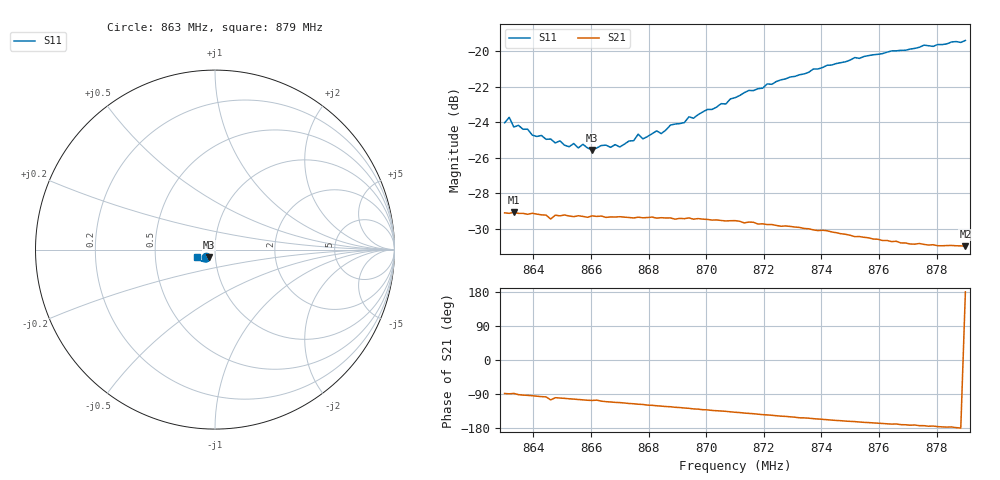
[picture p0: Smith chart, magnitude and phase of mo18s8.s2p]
# HZ S RI R 50
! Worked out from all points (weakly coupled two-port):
!   101 points, 863 MHz to 879 MHz, reference 50 ohm
!   highest |S21| = -29.08 dB at 863.32 MHz (marker M1); lowest = -31.0 dB at 879 MHz (marker M2)
!   lowest |S11| = -25.6 dB at 866.04 MHz (marker M3), VSWR 1.11, Z = 46.6 - j3.83 ohm
!   |S11| at or under -10 dB: start of sweep to end of sweep
!   S12 and S22 are empty: the file has one direction only
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8.63e8  -0.0485 -0.0399  0.000977 -0.035  0 0  0 0
8.6316e8  -0.0519 -0.0394  0.000446 -0.0349  0 0  0 0
8.6332e8  -0.0473 -0.0388  0.00107 -0.0351  0 0  0 0
8.646e8  -0.0411 -0.0388  -0.00888 -0.0325  0 0  0 0
8.6524e8  -0.0372 -0.0389  -0.00733 -0.0335  0 0  0 0
8.6572e8  -0.0353 -0.0418  -0.00895 -0.033  0 0  0 0
8.6604e8  -0.0332 -0.0409  -0.00992 -0.0329  0 0  0 0
8.6636e8  -0.034 -0.0423  -0.0109 -0.0325  0 0  0 0
8.67e8  -0.0304 -0.0443  -0.013 -0.0316  0 0  0 0
8.6748e8  -0.0297 -0.0474  -0.0146 -0.0306  0 0  0 0
8.6764e8  -0.0325 -0.0485  -0.0153 -0.0304  0 0  0 0
8.678e8  -0.0306 -0.0476  -0.0156 -0.0302  0 0  0 0
8.6828e8  -0.031 -0.051  -0.0173 -0.0291  0 0  0 0
8.6844e8  -0.0294 -0.0507  -0.0178 -0.0289  0 0  0 0
8.6876e8  -0.0309 -0.0536  -0.0186 -0.0283  0 0  0 0
8.6924e8  -0.0313 -0.0546  -0.0201 -0.0271  0 0  0 0
8.694e8  -0.0321 -0.0569  -0.0206 -0.0269  0 0  0 0
8.6956e8  -0.0317 -0.0565  -0.0212 -0.0261  0 0  0 0
8.71e8  -0.0381 -0.0634  -0.0247 -0.0223  0 0  0 0
8.7372e8  -0.0568 -0.0686  -0.0284 -0.0134  0 0  0 0
8.7644e8  -0.0806 -0.0595  -0.0286 -0.00548  0 0  0 0
8.79e8  -0.0993 -0.0404  -0.0282 5.5e-05  0 0  0 0
